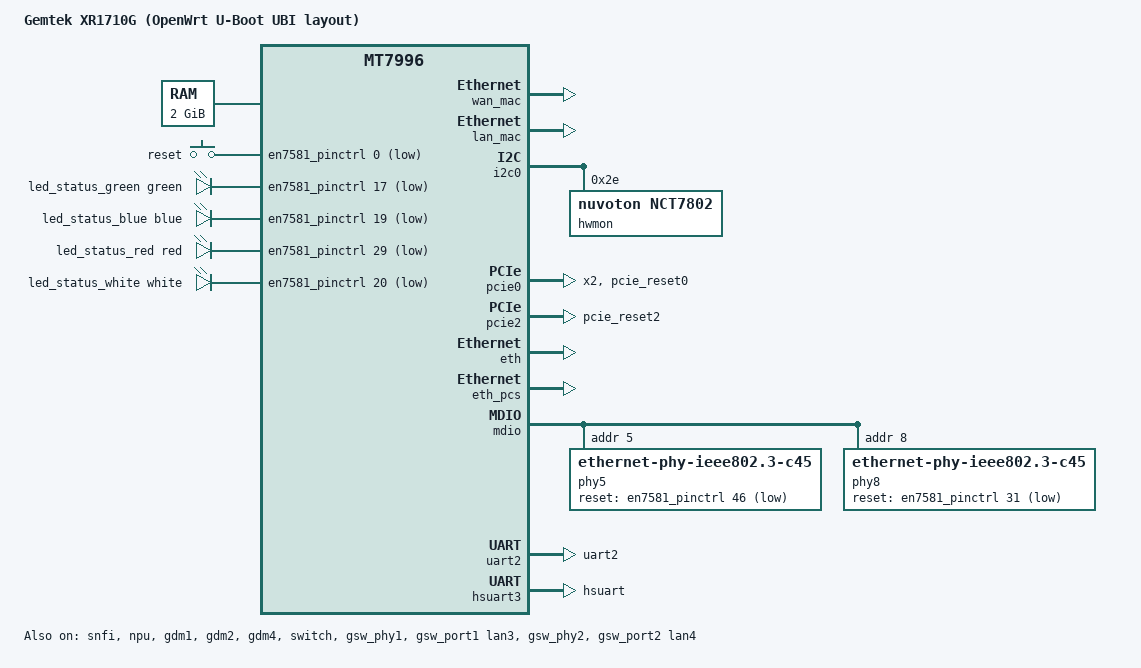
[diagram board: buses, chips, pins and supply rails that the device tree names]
// SPDX-License-Identifier: GPL-2.0-or-later OR MIT
/dts-v1/;

/* Firmware reserves the first 2 MiB of DRAM. */
/memreserve/ 0x80000000 0x200000;

#include <dt-bindings/gpio/gpio.h>
#include <dt-bindings/input/input.h>
#include <dt-bindings/leds/common.h>
#include <dt-bindings/phy/phy.h>
#include "an7581.dtsi"
#include "an7581-npu-mt7996.dtsi"

/ {
	model = "Gemtek XR1710G (OpenWrt U-Boot UBI layout)";
	compatible = "gemtek,xr1710g-ubi",
		     "airoha,an7581", "airoha,en7581";
	aliases {
		serial0 = &uart1;
		led-boot = &led_status_red;
		led-failsafe = &led_status_blue;
		led-upgrade = &led_status_blue;
		led-running = &led_status_green;
	};
	chosen {
		/* Create fastmap on first attach for boot firmware and Linux reuse. */
		bootargs = "console=ttyS0,115200 earlycon";
		rootdisk = <&ubi_fit>;
		stdout-path = "serial0:115200n8";
		linux,usable-memory-range = <0x0 0x80200000 0x0 0x7fe00000>;
	};

	memory@80000000 {
		device_type = "memory";
		/* The board contains 2 GiB of DRAM. */
		reg = <0x0 0x80000000 0x0 0x80000000>;
	};

	keys {
		compatible = "gpio-keys";
		key-restart {
			label = "reset";
			gpios = <&en7581_pinctrl 0 GPIO_ACTIVE_LOW>;
			linux,code = <KEY_RESTART>;
			debounce-interval = <60>;
		};
	};
	leds {
		compatible = "gpio-leds";
		led_status_green: led-status-green {
			color = <LED_COLOR_ID_GREEN>;
			function = LED_FUNCTION_STATUS;
			gpios = <&en7581_pinctrl 17 GPIO_ACTIVE_LOW>;
		};
		led_status_blue: led-status-blue {
			color = <LED_COLOR_ID_BLUE>;
			function = LED_FUNCTION_STATUS;
			gpios = <&en7581_pinctrl 19 GPIO_ACTIVE_LOW>;
		};
		led_status_red: led-status-red {
			color = <LED_COLOR_ID_RED>;
			function = LED_FUNCTION_STATUS;
			gpios = <&en7581_pinctrl 29 GPIO_ACTIVE_LOW>;
			default-state = "on";
		};
		led_status_white: led-status-white {
			color = <LED_COLOR_ID_WHITE>;
			function = LED_FUNCTION_STATUS;
			gpios = <&en7581_pinctrl 20 GPIO_ACTIVE_LOW>;
		};
	};
};

&en7581_pinctrl {
	gpio-ranges = <&en7581_pinctrl 0 13 47>;
	mdio_pins: mdio-pins {
		mux {
			function = "mdio";
			groups = "mdio";
		};
		conf {
			pins = "gpio2";
			output-high;
		};
	};
	pcie0_rst_pins: pcie0-rst-pins {
		conf {
			pins = "pcie_reset0";
			drive-open-drain = <1>;
		};
	};
	pcie2_rst_pins: pcie2-rst-pins {
		conf {
			pins = "pcie_reset2";
			drive-open-drain = <1>;
		};
	};
	/* LAN2/LAN3 LEDs are driven directly by the internal MT7530 switch. */
	gswp1_led0_pins: gswp1-led0-pins {
		mux {
			function = "phy1_led0";
			pins = "gpio33";
		};
	};
	gswp1_led1_pins: gswp1-led1-pins {
		mux {
			function = "phy1_led1";
			pins = "gpio43";
		};
	};
	gswp2_led0_pins: gswp2-led0-pins {
		mux {
			function = "phy2_led0";
			pins = "gpio34";
		};
	};
	gswp2_led1_pins: gswp2-led1-pins {
		mux {
			function = "phy2_led1";
			pins = "gpio44";
		};
	};
	uart2_pins: uart2-pins {
		mux {
			function = "uart";
			groups = "uart2";
		};
	};
	hsuart_pins: hsuart-pins {
		mux {
			function = "uart";
			groups = "hsuart";
		};
	};
};
&snfi {
	status = "okay";
};
&spi_nand {
	/* Winbond W25N04K provides 512 MiB with 2 KiB pages and 128 KiB blocks. */
	compatible = "winbond,w25n04kv", "spi-nand";
	nand-ecc-engine = <&spi_nand>;

	partitions {
		compatible = "fixed-partitions";
		#address-cells = <1>;
		#size-cells = <1>;
		partition@0 {
			label = "bl2";
			/* BootROM reads the BL2 FIP at offset 0x800 in the first eraseblock. */
			reg = <0x00000000 0x00020000>;
			read-only;
		};
		partition@20000 {
			label = "ubi";
			/* A zero size extends the UBI partition to the physical NAND end. */
			reg = <0x00020000 0x00000000>;
			compatible = "linux,ubi";
			volumes {
				ubi_fip: ubi-volume-fip {
					volname = "fip";
				};

				ubi_env: ubi-volume-ubootenv {
					volname = "ubootenv";
				};

				ubi_env2: ubi-volume-ubootenv2 {
					volname = "ubootenv2";
				};

				/*
				 * pbs05/uboot-an758x creates one 2 MiB static UBI volume
				 * named "factory". Restore the complete OOB-stripped stock
				 * DSD partition into it; do not use the legacy repacked
				 * EEPROM-at-0/MAC-at-0x5000 factory image.
				 */
				factory_storage: ubi-volume-factory {
					volname = "factory";

					nvmem-layout {
						compatible = "fixed-layout";
						#address-cells = <1>;
						#size-cells = <1>;

						eeprom: eeprom@5000 {
							/* MT7996 EEPROM/calibration follows the DSD backup at 0x5000. */
							reg = <0x00005000 0x00001e00>;
						};

						wan_mac: mac-address@6c {
							/* DSD main-data backup keeps the original 17-byte colon-delimited MAC text. */
							compatible = "mac-base";
							reg = <0x0000006c 0x00000011>;
							#nvmem-cell-cells = <1>;
						};

						lan_mac: mac-address@86 {
							/* +0: main LAN2, +1/+2/+3: Wi-Fi bands, +4: CPU. */
							compatible = "mac-base";
							reg = <0x00000086 0x00000011>;
							#nvmem-cell-cells = <1>;
						};
					};
				};

				ubi_fit: ubi-volume-fit {
					/* The fit volume contains the kernel and read-only rootfs. */
					volname = "fit";
				};
			};
		};
	};
};

&ubi_env {
	nvmem-layout {
		compatible = "u-boot,env-redundant-bool-layout";
	};
};

&ubi_env2 {
	nvmem-layout {
		compatible = "u-boot,env-redundant-bool-layout";
	};
};

&i2c0 {
	status = "okay";
	hwmon@2e {
		compatible = "nuvoton,nct7802";
		reg = <0x2e>;
	};
};
&pcie0 {
	status = "okay";

	reg = <0x0 0x1fc00000 0x0 0x1670>,
	      <0x0 0x1fc20000 0x0 0x1670>;

	reg-names = "pcie-mac", "sec-pcie-mac";

	resets = <&scuclk EN7581_PCIE0_RST>,
		 <&scuclk EN7581_PCIE1_RST>,
		 <&scuclk EN7581_PCIC_PERSTOUT0_RST>,
		 <&scuclk EN7581_PCIC_PERSTOUT1_RST>;

	reset-names = "phy-lane0",
		      "phy-lane1",
		      "perstout",
		      "sec-perstout";

	num-lanes = <2>;
	max-link-speed = <3>;

	airoha,scu = <&scuclk>;

	pinctrl-names = "default";
	pinctrl-0 = <&pcie0_rst_pins>;
	pcie@0,0 {
		reg = <0x0000 0 0 0 0>;
		device_type = "pci";
		#address-cells = <3>;
		#size-cells = <2>;
		mt7996@0,0 {
			reg = <0x0000 0 0 0 0>;
			#address-cells = <1>;
			#size-cells = <0>;
			nvmem-cells = <&eeprom>;
			nvmem-cell-names = "eeprom";
			airoha,npu = <&npu>;
			airoha,eth = <&eth>;
			band@0 {
				/* 2.4 GHz */
				reg = <0>;
				nvmem-cells = <&lan_mac 1>;
				nvmem-cell-names = "mac-address";
			};
			band@1 {
				/* 5 GHz */
				reg = <1>;
				nvmem-cells = <&lan_mac 2>;
				nvmem-cell-names = "mac-address";
			};
			band@2 {
				/* 6 GHz */
				reg = <2>;
				nvmem-cells = <&lan_mac 3>;
				nvmem-cell-names = "mac-address";
			};
		};
	};
};

&pcie1 {
	status = "disabled";
};

&pcie2 {
	status = "okay";
	max-link-speed = <2>;
	airoha,wait-for-pcie0-perst;
	airoha,scu = <&scuclk>;
	pinctrl-names = "default";
	pinctrl-0 = <&pcie2_rst_pins>;
};

&cpufreq {
        reg = <0x0 0x1FA20000 0x0 0x2C0
               0x0 0x1EFBE000 0x0 0x800>;
        reg-names = "chip-scu", "mcucfg";
};
&npu {
	status = "okay";
};
&afe {
	status = "disabled";
};
&eth {
	status = "okay";
};

&gdm1 {
	status = "okay";
	nvmem-cells = <&lan_mac 4>;
	nvmem-cell-names = "mac-address";
	openwrt,netdev-name = "cpu";
};
&gdm2 {
	status = "okay";
	managed = "in-band-status";
	phy-handle = <&phy8>;
	phy-mode = "usxgmii";
	nvmem-cells = <&wan_mac 0>;
	nvmem-cell-names = "mac-address";
	openwrt,netdev-name = "wan";
};
&eth_pcs {
	status = "okay";
};
&gdm4 {
	status = "okay";
	managed = "in-band-status";
	phy-handle = <&phy5>;
	phy-mode = "usxgmii";
	nvmem-cells = <&lan_mac 0>;
	nvmem-cell-names = "mac-address";
	openwrt,netdev-name = "lan2";
};
&switch {
	status = "okay";
	pinctrl-names = "default";
	pinctrl-0 = <&mdio_pins>;
	mdio {
		phy5: ethernet-phy@5 {
			compatible = "ethernet-phy-ieee802.3-c45";
			reg = <5>;
			reset-gpios = <&en7581_pinctrl 46 GPIO_ACTIVE_LOW>;
			reset-before-id-read;
			reset-assert-us = <200000>;
			reset-deassert-us = <200000>;
			tx-polarity = <PHY_POL_INVERT>;
			rx-polarity = <PHY_POL_INVERT>;
			realtek,patch-rtk-serdes;
		};
		phy8: ethernet-phy@8 {
			compatible = "ethernet-phy-ieee802.3-c45";
			reg = <8>;
			reset-gpios = <&en7581_pinctrl 31 GPIO_ACTIVE_LOW>;
			reset-assert-us = <200000>;
			reset-deassert-us = <200000>;
			tx-polarity = <PHY_POL_INVERT>;
			rx-polarity = <PHY_POL_INVERT>;
			realtek,patch-rtk-serdes;
		};
	};
};
&gsw_phy1 {
	status = "okay";
	pinctrl-names = "gbe-led";
	pinctrl-0 = <&gswp1_led0_pins>, <&gswp1_led1_pins>;
	leds {
		/delete-node/ led@0;
		/delete-node/ led@1;
		lan3-green {
			reg = <0>;
			linux,led-devicename = "lan3";
			label = "green";
			active-low;
			status = "okay";
		};
		lan3-amber {
			reg = <1>;
			linux,led-devicename = "lan3";
			label = "amber";
			active-low;
			status = "okay";
		};
	};
};
&gsw_port1 {
	status = "okay";
	label = "lan3";
};
&gsw_phy2 {
	status = "okay";
	pinctrl-names = "gbe-led";
	pinctrl-0 = <&gswp2_led0_pins>, <&gswp2_led1_pins>;
	leds {
		/delete-node/ led@0;
		/delete-node/ led@1;
		lan4-green {
			reg = <0>;
			linux,led-devicename = "lan4";
			label = "green";
			active-low;
			status = "okay";
		};
		lan4-amber {
			reg = <1>;
			linux,led-devicename = "lan4";
			label = "amber";
			active-low;
			status = "okay";
		};
	};
};
&gsw_port2 {
	status = "okay";
	label = "lan4";
};
&uart2 {
	status = "okay";
	pinctrl-names = "default";
	pinctrl-0 = <&uart2_pins>;
};
&hsuart3 {
	status = "okay";
	pinctrl-names = "default";
	pinctrl-0 = <&hsuart_pins>;
};
